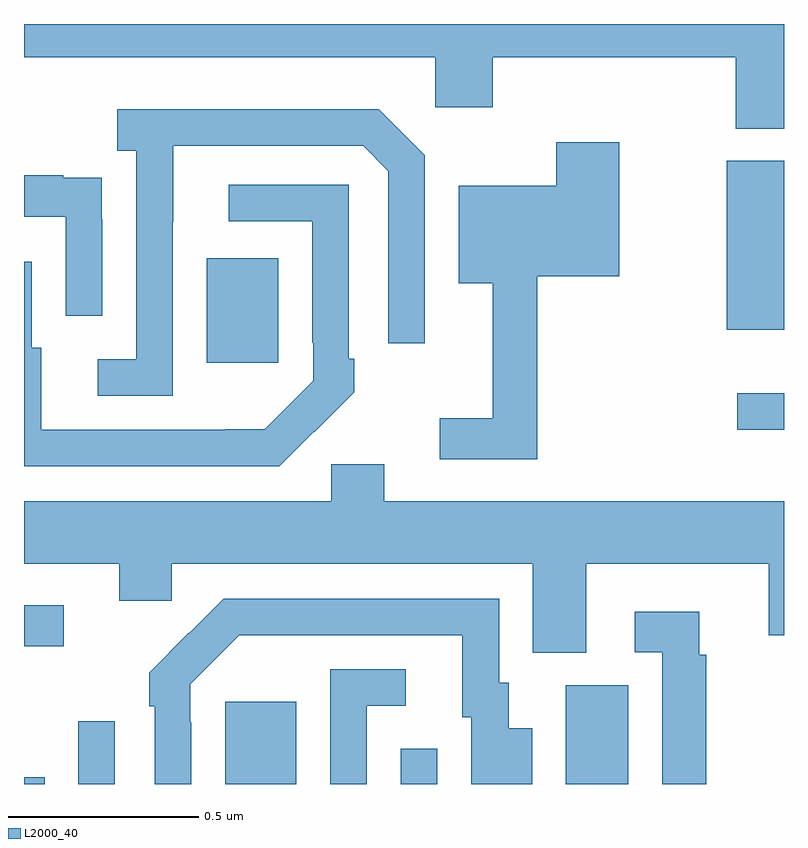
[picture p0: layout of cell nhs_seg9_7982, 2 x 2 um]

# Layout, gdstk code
import gdstk
lib = gdstk.Library(unit=1e-6, precision=1e-09)
def R(c, l, rs):  # rectangles x0, y0, x1, y1
    for r in rs: c.add(gdstk.rectangle(r[:2], r[2:], *l))
def P(c, l, *ps):  # polygons
    for p in ps: c.add(gdstk.Polygon(p, *l))
L2000_40 = (2000, 40)

nhs_seg9_7982 = lib.new_cell('nhs_seg9_7982')
R(nhs_seg9_7982, L2000_40, [(211,1202.5,211.054,1202.518), (211.143,1202.5,211.239,1202.665), (211.529,1202.5,211.717,1202.716), (211.992,1202.5,212.088,1202.593), (212.426,1202.5,212.59,1202.76), (211,1202.862,211.105,1202.97), (212.877,1203.432,213,1203.528), (211.481,1203.609,211.669,1203.883), (212.849,1203.696,213,1204.14)])
P(nhs_seg9_7982, L2000_40, [(213,1204.5),(211,1204.5),(211,1204.412),(212.082,1204.412),(212.082,1204.281),(212.234,1204.281),(212.234,1204.412),(212.873,1204.412),(212.873,1204.225),(213,1204.225)],
  [(211.392,1203.979),(211.393,1203.979),(211.393,1204.179),(211.893,1204.179),(211.959,1204.113),(211.959,1203.66),(212.055,1203.66),(212.055,1204.155),(211.934,1204.276),(211.245,1204.276),(211.245,1204.166),(211.296,1204.166),(211.296,1203.618),(211.194,1203.618),(211.194,1203.522),(211.392,1203.522)],
  [(212.351,1203.836),(212.566,1203.836),(212.566,1204.189),(212.401,1204.189),(212.401,1204.075),(212.144,1204.075),(212.144,1203.818),(212.234,1203.818),(212.234,1203.463),(212.094,1203.463),(212.094,1203.354),(212.351,1203.354)],
  [(211.206,1203.986),(211.205,1203.986),(211.205,1204.095),(211.103,1204.095),(211.103,1204.102),(211,1204.102),(211,1203.993),(211.11,1203.993),(211.11,1203.732),(211.206,1203.732)],
  [(211.763,1203.427),(211.764,1203.426),(211.869,1203.531),(211.869,1203.619),(211.854,1203.619),(211.854,1204.077),(211.539,1204.077),(211.539,1203.981),(211.758,1203.981),(211.758,1203.661),(211.761,1203.661),(211.761,1203.561),(211.633,1203.433),(211.529,1203.433),(211.529,1203.432),(211.045,1203.432),(211.045,1203.648),(211.021,1203.648),(211.021,1203.874),(211,1203.874),(211,1203.336),(211.672,1203.336)],
  [(212.479,1203.08),(212.96,1203.08),(212.96,1202.892),(213,1202.892),(213,1203.244),(211.948,1203.244),(211.948,1203.342),(211.809,1203.342),(211.809,1203.244),(211,1203.244),(211,1203.08),(211.25,1203.08),(211.25,1202.982),(211.389,1202.982),(211.389,1203.08),(212.339,1203.08),(212.339,1202.845),(212.479,1202.845)],
  [(211.44,1202.663),(211.437,1202.663),(211.437,1202.763),(211.566,1202.892),(212.153,1202.892),(212.153,1202.676),(212.177,1202.676),(212.177,1202.5),(212.338,1202.5),(212.338,1202.647),(212.275,1202.647),(212.275,1202.766),(212.25,1202.766),(212.25,1202.988),(211.526,1202.988),(211.435,1202.897),(211.434,1202.898),(211.329,1202.793),(211.329,1202.705),(211.344,1202.705),(211.344,1202.5),(211.44,1202.5)],
  [(212.795,1202.84),(212.777,1202.84),(212.777,1202.953),(212.607,1202.953),(212.607,1202.847),(212.679,1202.847),(212.679,1202.5),(212.795,1202.5)],
  [(211.902,1202.706),(212.005,1202.706),(212.005,1202.802),(211.806,1202.802),(211.806,1202.5),(211.902,1202.5)])

lib.write_gds('nhs_seg9_7982.gds')
